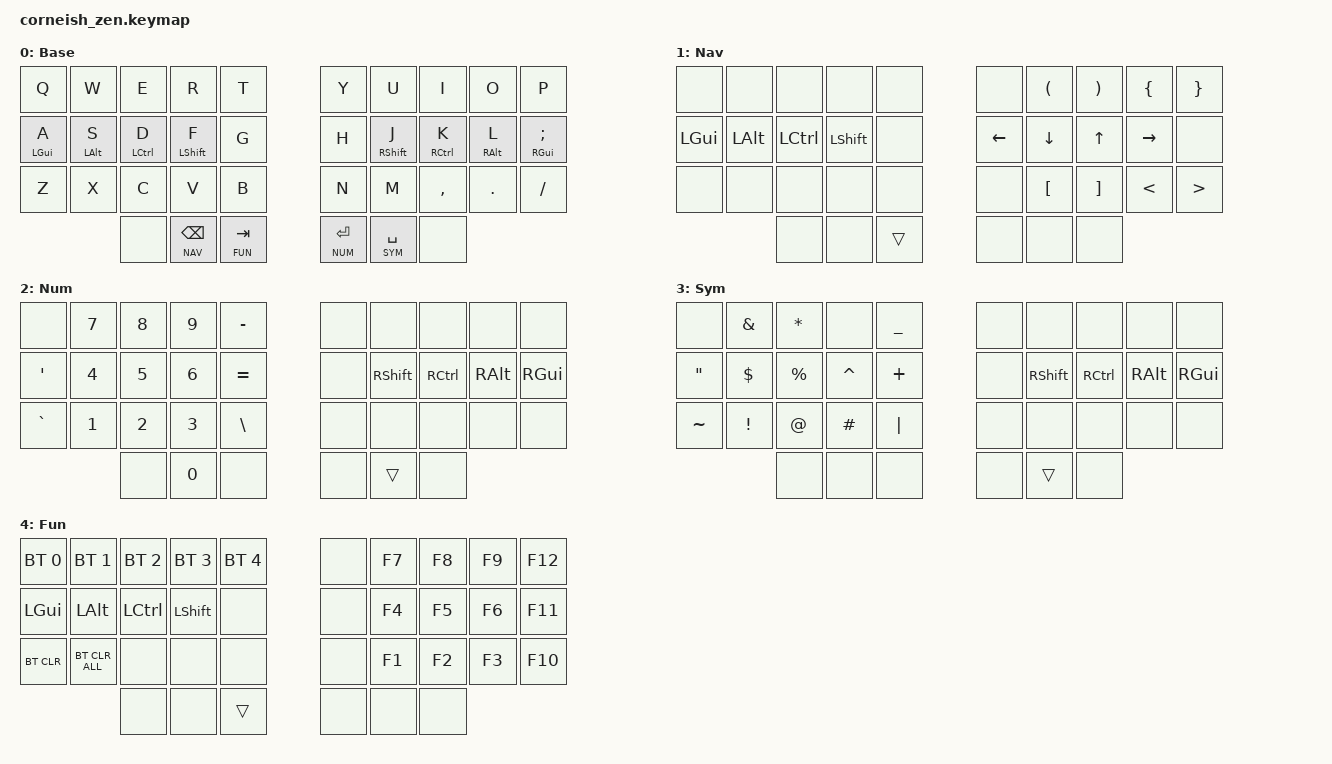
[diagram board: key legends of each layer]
#include <behaviors.dtsi>
#include <dt-bindings/zmk/keys.h>
#include <dt-bindings/zmk/bt.h>

#define NAV 1
#define NUM 2
#define SYM 3
#define FUN 4

/ {
  chosen {
    zmk,physical-layout = &foostan_corne_5col_layout;
  };

  combos {
    compatible = "zmk,combos";
    combo_esc {
      timeout-ms = <50>;
      key-positions = <10 19>;
      bindings = <&kp ESC>;
    };
    combo_caps_word {
      timeout-ms = <50>;
      key-positions = <20 29>;
      bindings = <&caps_word>;
    };
  };

  behaviors {
    hm: homerow_mods {
      compatible = "zmk,behavior-hold-tap";
      #binding-cells = <2>;
      tapping-term-ms = <200>;
      quick-tap-ms = <0>;
      flavor = "balanced";
      bindings = <&kp>, <&kp>;
    };
  };

  keymap {
    compatible = "zmk,keymap";

    default_layer { 
      display-name = "Base";
      bindings = <
  &kp Q        &kp W          &kp E        &kp R        &kp T        &kp Y       &kp U         &kp I       &kp O      &kp P
  &hm LGUI A   &hm LALT S     &hm LCTRL D  &hm LSHIFT F &kp G        &kp H       &hm RSHIFT J  &hm RCTRL K &hm RALT L &hm RGUI SEMI
  &kp Z        &kp X          &kp C        &kp V        &kp B        &kp N       &kp M         &kp COMMA   &kp DOT    &kp FSLH
                              &none        &lt NAV BSPC &lt FUN TAB  &lt NUM RET &lt SYM SPACE &none
      >;
    };

    nav_layer {
      display-name = "Nav";
      bindings = <
  &none        &none          &none        &none        &none        &none       &kp LPAR      &kp RPAR    &kp LBRC   &kp RBRC
  &kp LGUI     &kp LALT       &kp LCTRL    &kp LSHIFT   &none        &kp LEFT    &kp DOWN      &kp UP      &kp RIGHT  &none
  &none        &none          &none        &none        &none        &none       &kp LBKT      &kp RBKT    &kp LT     &kp GT
                              &none        &none        &trans       &none       &none         &none
      >;
    };

    num_layer {
      display-name = "Num";
      bindings = <
  &none        &kp N7         &kp N8       &kp N9       &kp MINUS    &none       &none         &none       &none      &none
  &kp SQT      &kp N4         &kp N5       &kp N6       &kp EQUAL    &none       &kp RSHIFT    &kp RCTRL   &kp RALT   &kp RGUI
  &kp GRAVE    &kp N1         &kp N2       &kp N3       &kp BSLH     &none       &none         &none       &none      &none
                              &none        &kp N0       &none        &none       &trans        &none
      >;
    };

    sym_layer {
      display-name = "Sym";
      bindings = <
  &none        &kp AMPS       &kp STAR     &none        &kp UNDER    &none       &none         &none       &none      &none
  &kp DQT      &kp DLLR       &kp PRCNT    &kp CARET    &kp PLUS     &none       &kp RSHIFT    &kp RCTRL   &kp RALT   &kp RGUI
  &kp TILDE    &kp EXCL       &kp AT       &kp HASH     &kp PIPE     &none       &none         &none       &none      &none
                              &none        &none        &none        &none       &trans        &none
      >;
    };

    fun_layer {
      display-name = "Fun";
      bindings = <
  &bt BT_SEL 0 &bt BT_SEL 1   &bt BT_SEL 2 &bt BT_SEL 3 &bt BT_SEL 4 &none       &kp F7        &kp F8      &kp F9     &kp F12
  &kp LGUI     &kp LALT       &kp LCTRL    &kp LSHIFT   &none        &none       &kp F4        &kp F5      &kp F6     &kp F11
  &bt BT_CLR   &bt BT_CLR_ALL &none        &none        &none        &none       &kp F1        &kp F2      &kp F3     &kp F10
                              &none        &none        &trans       &none       &none         &none
      >;
    };
  };
};
